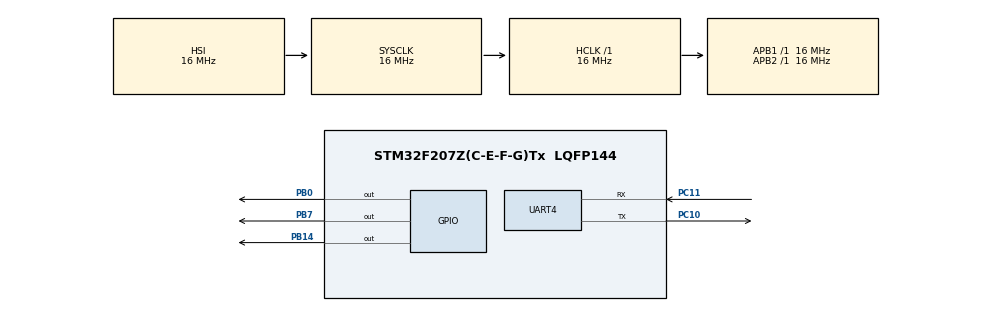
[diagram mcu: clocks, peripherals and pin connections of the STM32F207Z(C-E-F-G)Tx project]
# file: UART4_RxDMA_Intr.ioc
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Dma.Request0=UART4_RX
Dma.UART4_RX.0.Direction=DMA_PERIPH_TO_MEMORY
Dma.UART4_RX.0.FIFOMode=DMA_FIFOMODE_DISABLE
Dma.UART4_RX.0.Instance=DMA1_Stream2
Dma.UART4_RX.0.MemDataAlignment=DMA_MDATAALIGN_BYTE
Dma.UART4_RX.0.MemInc=DMA_MINC_ENABLE
Dma.UART4_RX.0.Mode=DMA_NORMAL
Dma.UART4_RX.0.PeriphDataAlignment=DMA_PDATAALIGN_BYTE
Dma.UART4_RX.0.PeriphInc=DMA_PINC_DISABLE
Dma.UART4_RX.0.Priority=DMA_PRIORITY_LOW
Mcu.Family=STM32F2
Mcu.Name=STM32F207Z(C-E-F-G)Tx
Mcu.Package=LQFP144
NVIC.DMA1_Stream2_IRQn=true\:0\:0\:false\:false\:true\:false\:true
NVIC.PriorityGroup=NVIC_PRIORITYGROUP_4
NVIC.UART4_IRQn=true\:0\:0\:false\:false\:true\:true\:true
PB0.Signal=GPIO_Output
PB14.Signal=GPIO_Output
PB7.Signal=GPIO_Output
PC10.Mode=Asynchronous
PC10.Signal=UART4_TX
PC11.Mode=Asynchronous
PC11.Signal=UART4_RX
ProjectManager.HeapSize=0x200
ProjectManager.StackSize=0x400
ProjectManager.TargetToolchain=STM32CubeIDE
RCC.48MHZClocksFreq_Value=48000000
RCC.AHBFreq_Value=16000000
RCC.APB1Freq_Value=16000000
RCC.APB2Freq_Value=16000000
RCC.CortexFreq_Value=16000000
RCC.HSE_VALUE=25000000
RCC.HSI_VALUE=16000000
RCC.LSE_VALUE=32768
RCC.SYSCLKFreq_VALUE=16000000
RCC.VCOOutputFreq_Value=192000000
TIM1.Period=60000
UART4.VirtualMode=Asynchronous
VP_TIM1_VS_ClockSourceINT.Mode=Internal
VP_TIM1_VS_ClockSourceITR.Mode=TriggerSource_ITR0
VP_TIM1_VS_ControllerModeTrigger.Mode=Trigger Mode
board=custom

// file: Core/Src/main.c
/* USER CODE BEGIN Header */
/**
  ******************************************************************************
  * @file           : main.c
  * @brief          : Main program body
  ******************************************************************************
  * @attention
  *
  * <h2><center>&copy; Copyright (c) 2021 STMicroelectronics.
  * All rights reserved.</center></h2>
  *
  * This software component is licensed by ST under BSD 3-Clause license,
  * the "License"; You may not use this file except in compliance with the
  * License. You may obtain a copy of the License at:
  *                        opensource.org/licenses/BSD-3-Clause
  *
  ******************************************************************************
  */
/* USER CODE END Header */
#include "main.h"
#include "dma.h"
#include "tim.h"
#include "usart.h"
#include "gpio.h"

/* USER CODE BEGIN Includes */
#include <stdio.h>
#include <string.h>
/* USER CODE END Includes */

/* USER CODE BEGIN PD */
#define GREEN 	GPIO_PIN_0
#define RED 	GPIO_PIN_14
#define BLUE 	GPIO_PIN_7

/* USER CODE END PD */

/* USER CODE BEGIN PM */
//__HAL_UART_ENABLE_IT(&huart4,UART_IT_RXNE);
//#define Blink_LED (pin, sr) ( HAL_GPIO_WritePin(GPIOB, pin, sr); )
/* USER CODE END PM */

/* USER CODE BEGIN PV */
UART_HandleTypeDef huart4;
DMA_HandleTypeDef hdma_usart4_rx;

unsigned char msg_flag = 0;
unsigned char rx_uart4_buf[50]={};
char tx_uart4_buf[50]={};
unsigned int intr=0,count=0;

/* USER CODE END PV */

void SystemClock_Config(void);
/* USER CODE BEGIN PFP */
void application_handling(unsigned char *cmd);
/* USER CODE END PFP */

/* USER CODE BEGIN 0 */
static void inline Blink_LED(unsigned int pin, unsigned char sr){
		HAL_GPIO_WritePin(GPIOB, pin, sr);
}

void delayfor(unsigned long int delay){
	for(unsigned long int i=0;i<delay;i++);
}

/* USER CODE END 0 */

int main(void)
{

  /* MCU Configuration--------------------------------------------------------*/

  /* Reset of all peripherals, Initializes the Flash interface and the Systick. */
  HAL_Init();

  /* Configure the system clock */
  SystemClock_Config();

  /* Initialize all configured peripherals */
  MX_GPIO_Init();
  MX_DMA_Init();
  MX_UART4_Init();
  MX_TIM1_Init();
  /* USER CODE BEGIN 2 */
  __HAL_UART_ENABLE_IT(&huart4,UART_IT_RXNE);
  printf("Application Start\r\n");
  strcpy(tx_uart4_buf,"Application Start\r\n");
  HAL_UART_Transmit(&huart4,(uint8_t *)&tx_uart4_buf,strlen(tx_uart4_buf),100);
  HAL_UART_Receive_DMA(&huart4,rx_uart4_buf,8);
  //HAL_UART_Receive_IT (&huart4, rx_uart4_buf, 12);

  /* USER CODE END 2 */

  /* Infinite loop */
  /* USER CODE BEGIN WHILE */

  while (1)
  {
	  if(msg_flag){
		  application_handling(rx_uart4_buf);
		  msg_flag=0;
		  memset(rx_uart4_buf, 0, sizeof(rx_uart4_buf));
	  }
	  Blink_LED(BLUE,GPIO_PIN_SET);//Blink_LED(GREEN,GPIO_PIN_SET);
	  delayfor(60000);
	  Blink_LED(BLUE,GPIO_PIN_RESET);//Blink_LED(GREEN,GPIO_PIN_RESET);
	  delayfor(60000);

  }
  /* USER CODE END 3 */
}

void SystemClock_Config(void)
{
  RCC_OscInitTypeDef RCC_OscInitStruct = {0};
  RCC_ClkInitTypeDef RCC_ClkInitStruct = {0};

  /** Initializes the RCC Oscillators according to the specified parameters
  * in the RCC_OscInitTypeDef structure.
  */
  RCC_OscInitStruct.OscillatorType = RCC_OSCILLATORTYPE_HSI;
  RCC_OscInitStruct.HSIState = RCC_HSI_ON;
  RCC_OscInitStruct.HSICalibrationValue = RCC_HSICALIBRATION_DEFAULT;
  RCC_OscInitStruct.PLL.PLLState = RCC_PLL_NONE;
  if (HAL_RCC_OscConfig(&RCC_OscInitStruct) != HAL_OK)
  {
    Error_Handler();
  }
  /** Initializes the CPU, AHB and APB buses clocks
  */
  RCC_ClkInitStruct.ClockType = RCC_CLOCKTYPE_HCLK|RCC_CLOCKTYPE_SYSCLK
                              |RCC_CLOCKTYPE_PCLK1|RCC_CLOCKTYPE_PCLK2;
  RCC_ClkInitStruct.SYSCLKSource = RCC_SYSCLKSOURCE_HSI;
  RCC_ClkInitStruct.AHBCLKDivider = RCC_SYSCLK_DIV1;
  RCC_ClkInitStruct.APB1CLKDivider = RCC_HCLK_DIV1;
  RCC_ClkInitStruct.APB2CLKDivider = RCC_HCLK_DIV1;

  if (HAL_RCC_ClockConfig(&RCC_ClkInitStruct, FLASH_LATENCY_0) != HAL_OK)
  {
    Error_Handler();
  }
}

/* USER CODE BEGIN 4 */

void application_handling(unsigned char *cmd)
{
	if(strstr(cmd, "LED ON") != NULL)
	{
		//Turn LED ON
		//HAL_GPIO_WritePin(LED_GPIO_Port, LED_Pin, GPIO_PIN_SET);
		Blink_LED(RED,GPIO_PIN_SET);
		printf("RED LED Turned ON\r\n");
	}
	else if(strstr(cmd, "LED OFF") != NULL)
	{
		//Turn LED OFF
		//HAL_GPIO_WritePin(LED_GPIO_Port, LED_Pin, GPIO_PIN_RESET);
		Blink_LED(RED,GPIO_PIN_RESET);
		printf("RED LED Turned OFF\r\n");
	}
	else
	{
		//Invalid command
		printf("Invalid Command!\r\n");
	}
}

void HAL_UART_RxCpltCallback(UART_HandleTypeDef *huart)
{
	if(huart->Instance==UART4){
		msg_flag=1;
	}
    HAL_UART_Transmit(&huart4, rx_uart4_buf, 8, 100);
    HAL_UART_Receive_DMA(&huart4, rx_uart4_buf, 8);
    //HAL_UART_Receive_IT(&huart4, rx_uart4_buf, 12);
}

/*
void HAL_UART_RxCpltCallback(UART_HandleTypeDef *huart)
{
	UNUSED(huart);
//	if(huart->Instance==UART4){
//			msg_flag = 1;
//	}
	Blink_LED(RED,GPIO_PIN_SET);
	//application_handling(rx_uart4_buf);
	//memset(rx_uart4_buf, 0, sizeof(rx_uart4_buf));
	//Get back to state 1
	HAL_UART_Receive_DMA(&huart4, (uint8_t *)rx_uart4_buf, 3);
	//HAL_UART_Transmit(&huart4,(uint8_t *)&rx_uart4_buf,1,100);
	if(rx_uart4_buf[0] == '1')
		Blink_LED(RED,GPIO_PIN_SET);
	else
		Blink_LED(RED,GPIO_PIN_RESET);
}
*/
/* USER CODE END 4 */

void Error_Handler(void)
{
}

/************************ (C) COPYRIGHT STMicroelectronics *****END OF FILE****/
